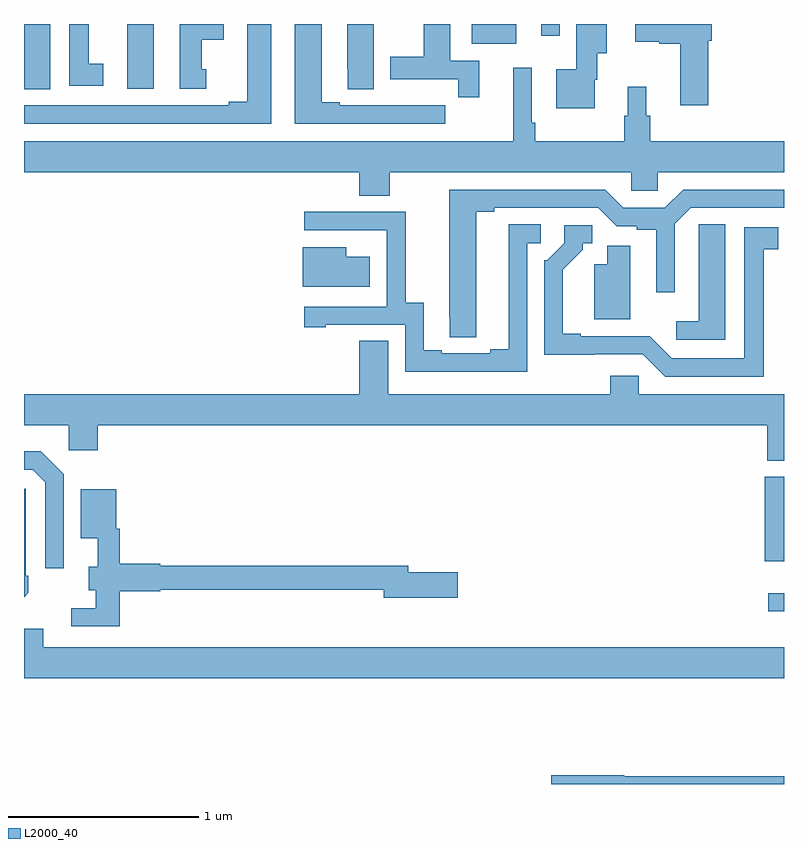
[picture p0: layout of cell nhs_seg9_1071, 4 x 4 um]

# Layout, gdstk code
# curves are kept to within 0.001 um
import gdstk
lib = gdstk.Library(unit=1e-6, precision=1e-09)
def R(c, l, rs):  # rectangles x0, y0, x1, y1
    for r in rs: c.add(gdstk.rectangle(r[:2], r[2:], *l))
def P(c, l, *ps):  # polygons
    for p in ps: c.add(gdstk.Polygon(p, *l))
L2000_40 = (2000, 40)

nhs_seg9_1071 = lib.new_cell('nhs_seg9_1071')
R(nhs_seg9_1071, L2000_40, [(172.917,1227.408,173,1227.504), (172.898,1227.672,173,1228.116), (169,1230.157,169.138,1230.5), (169.544,1230.159,169.684,1230.5), (171.356,1230.395,171.592,1230.5), (171.722,1230.438,171.819,1230.5)])
P(nhs_seg9_1071, L2000_40, [(170.842,1230.5),(170.702,1230.5),(170.702,1230.265),(170.703,1230.265),(170.703,1230.157),(170.842,1230.157)],
  [(172.601,1230.411),(172.619,1230.411),(172.619,1230.5),(172.218,1230.5),(172.218,1230.407),(172.344,1230.407),(172.344,1230.395),(172.454,1230.395),(172.454,1230.072),(172.601,1230.072)],
  [(169.417,1230.29),(169.342,1230.29),(169.342,1230.5),(169.238,1230.5),(169.238,1230.174),(169.417,1230.174)],
  [(169.96,1230.261),(169.936,1230.261),(169.936,1230.416),(170.05,1230.416),(170.05,1230.5),(169.82,1230.5),(169.82,1230.159),(169.96,1230.159)],
  [(171.217,1230.072),(171.104,1230.072),(171.104,1230.073),(170.938,1230.073),(170.938,1230.072),(170.662,1230.072),(170.662,1230.087),(170.566,1230.087),(170.566,1230.5),(170.426,1230.5),(170.426,1229.976),(171.217,1229.976)],
  [(171.395,1230.306),(171.244,1230.306),(171.244,1230.5),(171.104,1230.5),(171.104,1230.327),(170.927,1230.327),(170.927,1230.21),(171.286,1230.21),(171.286,1230.114),(171.395,1230.114)],
  [(170.302,1230.5),(170.174,1230.5),(170.174,1230.092),(170.078,1230.092),(170.078,1230.072),(169,1230.072),(169,1229.976),(170.302,1229.976)],
  [(172.005,1230.206),(172.018,1230.206),(172.018,1230.347),(172.066,1230.347),(172.066,1230.5),(171.907,1230.5),(171.907,1230.262),(171.8,1230.262),(171.8,1230.056),(172.005,1230.056)],
  [(170.925,1229.72),(172.197,1229.72),(172.197,1229.622),(172.335,1229.622),(172.335,1229.72),(173,1229.72),(173,1229.884),(172.295,1229.884),(172.295,1230.018),(172.276,1230.018),(172.276,1230.169),(172.178,1230.169),(172.178,1230.018),(172.159,1230.018),(172.159,1229.884),(171.692,1229.884),(171.692,1229.98),(171.672,1229.98),(171.672,1230.271),(171.575,1230.271),(171.575,1229.884),(169,1229.884),(169,1229.72),(170.765,1229.72),(170.765,1229.596),(170.925,1229.596)],
  [(171.379,1229.512),(171.475,1229.512),(171.475,1229.532),(172.023,1229.532),(172.119,1229.436),(172.224,1229.436),(172.224,1229.416),(172.328,1229.416),(172.328,1229.088),(172.425,1229.088),(172.425,1229.448),(172.509,1229.532),(173,1229.532),(173,1229.628),(172.469,1229.628),(172.373,1229.532),(172.155,1229.532),(172.059,1229.628),(171.239,1229.628),(171.24,1228.852),(171.379,1228.852)],
  [(171.648,1229.346),(171.721,1229.346),(171.721,1229.447),(171.551,1229.447),(171.551,1228.787),(171.455,1228.787),(171.455,1228.767),(171.199,1228.767),(171.199,1228.782),(171.103,1228.782),(171.103,1229.033),(171.009,1229.033),(171.009,1229.511),(170.475,1229.511),(170.475,1229.415),(170.909,1229.415),(170.909,1229.414),(170.91,1229.414),(170.91,1229.013),(170.475,1229.013),(170.475,1228.905),(170.587,1228.905),(170.587,1228.917),(171.006,1228.917),(171.006,1228.671),(171.648,1228.671)],
  [(172.69,1229.447),(172.551,1229.447),(172.551,1229.339),(172.55,1229.339),(172.55,1228.936),(172.434,1228.936),(172.434,1228.839),(172.69,1228.839)],
  [(172.894,1229.314),(172.969,1229.314),(172.969,1229.43),(172.79,1229.43),(172.79,1228.74),(172.41,1228.74),(172.293,1228.857),(171.931,1228.857),(171.931,1228.87),(171.835,1228.87),(171.835,1229.206),(171.94,1229.311),(171.94,1229.346),(171.99,1229.346),(171.99,1229.442),(171.843,1229.442),(171.843,1229.346),(171.753,1229.256),(171.738,1229.256),(171.738,1228.76),(172.257,1228.761),(172.374,1228.644),(172.894,1228.644)],
  [(172.192,1229.334),(172.07,1229.334),(172.07,1229.236),(172.001,1229.236),(172.001,1228.946),(172.192,1228.946)],
  [(170.821,1229.275),(170.695,1229.275),(170.695,1229.326),(170.468,1229.326),(170.468,1229.117),(170.821,1229.117)],
  [(173,1228.552),(172.236,1228.552),(172.236,1228.65),(172.085,1228.65),(172.085,1228.552),(170.917,1228.552),(170.917,1228.832),(170.765,1228.832),(170.765,1228.552),(169,1228.552),(169,1228.388),(169.236,1228.388),(169.236,1228.257),(169.388,1228.257),(169.388,1228.388),(172.913,1228.388),(172.913,1228.201),(173,1228.201)],
  [(169.209,1228.131),(169.088,1228.252),(169,1228.252),(169,1228.155),(169.047,1228.155),(169.113,1228.089),(169.113,1227.636),(169.209,1227.636)],
  [(169.023,1227.507),(169.023,1227.595),(169.008,1227.595),(169.008,1228.053),(169,1228.053),(169,1227.484)],
  [(169.505,1227.514),(169.716,1227.514),(169.716,1227.522),(170.894,1227.522),(170.894,1227.479),(171.283,1227.479),(171.283,1227.614),(171.022,1227.614),(171.022,1227.65),(169.716,1227.65),(169.716,1227.658),(169.505,1227.658),(169.505,1227.843),(169.486,1227.843),(169.486,1228.051),(169.298,1228.051),(169.298,1227.794),(169.388,1227.794),(169.388,1227.643),(169.34,1227.643),(169.34,1227.521),(169.377,1227.521),(169.377,1227.426),(169.248,1227.426),(169.248,1227.33),(169.505,1227.33)],
  [(173,1227.22),(169.102,1227.22),(169.102,1227.318),(169,1227.318),(169,1227.056),(173,1227.056)],
  [(173,1226.54),(172.158,1226.54),(172.158,1226.546),(171.774,1226.546),(171.774,1226.5),(173,1226.5)])

lib.write_gds('nhs_seg9_1071.gds')
